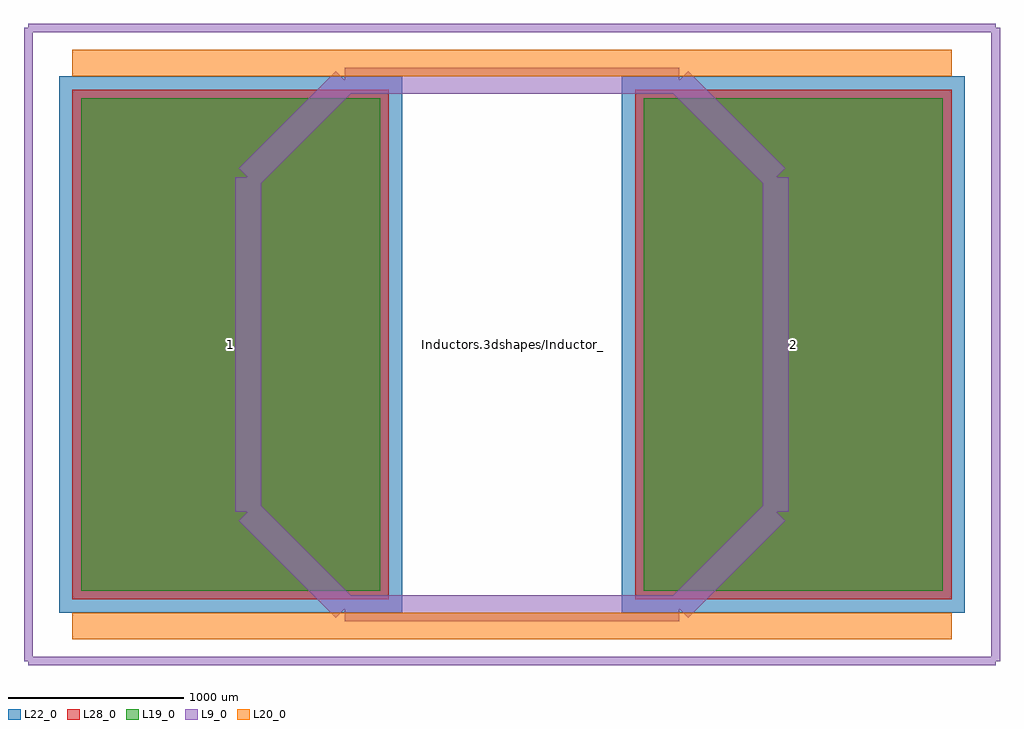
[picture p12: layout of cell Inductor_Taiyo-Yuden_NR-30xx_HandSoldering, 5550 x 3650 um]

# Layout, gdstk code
import gdstk
lib = gdstk.Library(unit=1e-6, precision=1e-09)
def R(c, l, rs):  # rectangles x0, y0, x1, y1
    for r in rs: c.add(gdstk.rectangle(r[:2], r[2:], *l))
L9_0 = (9, 0)
L19_0 = (19, 0)
L20_0 = (20, 0)
L22_0 = (22, 0)
L28_0 = (28, 0)

inductor_taiyo_yuden_nr_ = lib.new_cell('Inductor_Taiyo-Yuden_NR-30xx_HandSoldering')
R(inductor_taiyo_yuden_nr_, L19_0, [(-2450,-1400,-750,1400), (750,-1400,2450,1400)])
R(inductor_taiyo_yuden_nr_, L22_0, [(-2575,-1525,-625,1525), (625,-1525,2575,1525)])
R(inductor_taiyo_yuden_nr_, L28_0, [(-2500,-1450,-700,1450), (700,-1450,2500,1450)])
inductor_taiyo_yuden_nr_.add(gdstk.FlexPath([(2750,1800),(-2750,1800)], 50, ends="flush", simple_path=True, layer=9, datatype=0))  # L9_0
inductor_taiyo_yuden_nr_.add(gdstk.FlexPath([(2750,-1800),(2750,1800)], 50, ends="flush", simple_path=True, layer=9, datatype=0))  # L9_0
inductor_taiyo_yuden_nr_.add(gdstk.FlexPath([(-2750,-1800),(2750,-1800)], 50, ends="flush", simple_path=True, layer=9, datatype=0))  # L9_0
inductor_taiyo_yuden_nr_.add(gdstk.FlexPath([(-2750,1800),(-2750,-1800)], 50, ends="flush", simple_path=True, layer=9, datatype=0))  # L9_0
inductor_taiyo_yuden_nr_.add(gdstk.FlexPath([(-2500,-1600),(2500,-1600)], 149.998, ends="flush", simple_path=True, layer=20, datatype=0))  # L20_0
inductor_taiyo_yuden_nr_.add(gdstk.FlexPath([(-2500,1600),(2500,1600)], 149.998, ends="flush", simple_path=True, layer=20, datatype=0))  # L20_0
inductor_taiyo_yuden_nr_.add(gdstk.FlexPath([(-950,-1500),(0,-1500)], 149.998, ends="flush", simple_path=True, layer=9, datatype=0))  # L9_0
inductor_taiyo_yuden_nr_.add(gdstk.FlexPath([(-1500,-950),(-950,-1500)], 149.998, ends="flush", simple_path=True, layer=9, datatype=0))  # L9_0
inductor_taiyo_yuden_nr_.add(gdstk.FlexPath([(-1500,0),(-1500,-950)], 149.998, ends="flush", simple_path=True, layer=9, datatype=0))  # L9_0
inductor_taiyo_yuden_nr_.add(gdstk.FlexPath([(950,-1500),(0,-1500)], 149.998, ends="flush", simple_path=True, layer=9, datatype=0))  # L9_0
inductor_taiyo_yuden_nr_.add(gdstk.FlexPath([(1500,-950),(950,-1500)], 149.998, ends="flush", simple_path=True, layer=9, datatype=0))  # L9_0
inductor_taiyo_yuden_nr_.add(gdstk.FlexPath([(1500,0),(1500,-950)], 149.998, ends="flush", simple_path=True, layer=9, datatype=0))  # L9_0
inductor_taiyo_yuden_nr_.add(gdstk.FlexPath([(950,1500),(0,1500)], 149.998, ends="flush", simple_path=True, layer=9, datatype=0))  # L9_0
inductor_taiyo_yuden_nr_.add(gdstk.FlexPath([(1500,950),(950,1500)], 149.998, ends="flush", simple_path=True, layer=9, datatype=0))  # L9_0
inductor_taiyo_yuden_nr_.add(gdstk.FlexPath([(1500,0),(1500,950)], 149.998, ends="flush", simple_path=True, layer=9, datatype=0))  # L9_0
inductor_taiyo_yuden_nr_.add(gdstk.FlexPath([(-950,1500),(0,1500)], 149.998, ends="flush", simple_path=True, layer=9, datatype=0))  # L9_0
inductor_taiyo_yuden_nr_.add(gdstk.FlexPath([(-1500,950),(-950,1500)], 149.998, ends="flush", simple_path=True, layer=9, datatype=0))  # L9_0
inductor_taiyo_yuden_nr_.add(gdstk.FlexPath([(-1500,0),(-1500,950)], 149.998, ends="flush", simple_path=True, layer=9, datatype=0))  # L9_0
inductor_taiyo_yuden_nr_.add(gdstk.Label('Inductors.3dshapes/Inductor_Taiyo-Yuden_NR-30xx.wrl', (0,0), layer=12, texttype=0))
inductor_taiyo_yuden_nr_.add(gdstk.Label('2', (1600,0), layer=28, texttype=0))
inductor_taiyo_yuden_nr_.add(gdstk.Label('1', (-1600,0), layer=28, texttype=0))
inductor_taiyo_yuden_nr_.add(gdstk.Label('type', (0,-3000), layer=9, texttype=0))
inductor_taiyo_yuden_nr_.add(gdstk.Label('devicename', (0,2500), layer=9, texttype=0))

lib.write_gds('Inductor_Taiyo-Yuden_NR-30xx_HandSoldering.gds')
